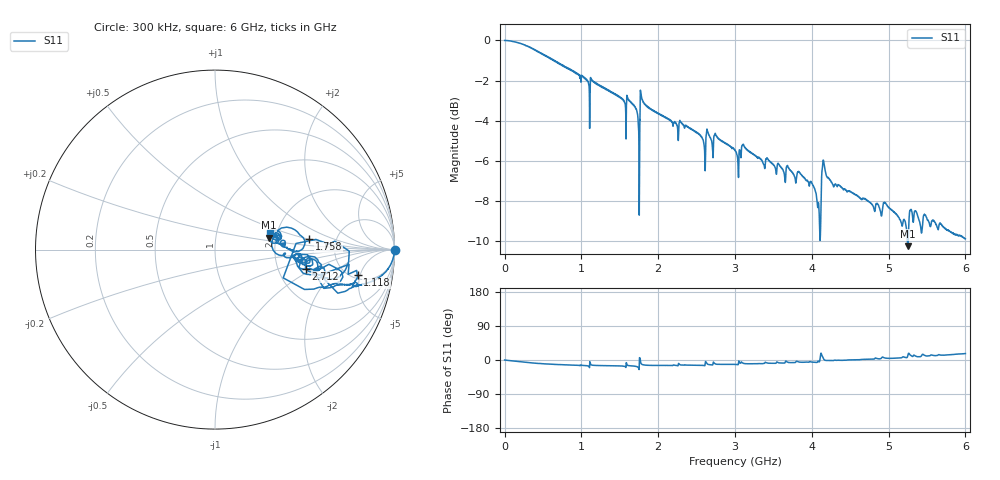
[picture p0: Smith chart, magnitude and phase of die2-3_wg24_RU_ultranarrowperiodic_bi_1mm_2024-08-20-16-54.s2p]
!Keysight Technologies,P9374A,MY57304198,A.17.20.09
!Date: Tuesday, August 20, 2024 16:54:35
!Correction: S11(C  1-Port  )
!S21(C  1-Port  )
!S12(Off)
!S22(Off)
!S2P File: Measurements: S11, S21, S12, S22:
# Hz S  dB  R 50
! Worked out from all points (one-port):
!   6000 points, 300 kHz to 6 GHz, reference 50 ohm
!   lowest |S11| = -10.3 dB at 5.251 GHz (marker M1), VSWR 1.88, Z = 91.4 + j13.4 ohm
!   |S11| at or under -10 dB: 5.243752 GHz to 5.255402 GHz (11.65 MHz wide, 0.222 % of centre)
!   S11 on the Smith chart (normalised r, x): 300 kHz: open; 1.118 GHz: 5.54, -4.57; 1.758 GHz: 3.16, +0.50; 2.712 GHz: 2.88, -0.85; 6 GHz: 1.83, +0.38
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300000  0.00 -0.0  -200.00 45.0  -200.00 45.0  -200.00 45.0
4.353508e8  -0.55 -8.9  -200.00 45.0  -200.00 45.0  -200.00 45.0
1.000417e9  -1.77 -13.5  -200.00 45.0  -200.00 45.0  -200.00 45.0
1.11843e9  -1.86 -10.2  -200.00 45.0  -200.00 45.0  -200.00 45.0
1.618489e9  -2.96 -14.9  -200.00 45.0  -200.00 45.0  -200.00 45.0
1.721501e9  -3.54 -17.4  -200.00 45.0  -200.00 45.0  -200.00 45.0
1.757505e9  -5.53 6.2  -200.00 45.0  -200.00 45.0  -200.00 45.0
1.783508e9  -2.83 -10.8  -200.00 45.0  -200.00 45.0  -200.00 45.0
1.795509e9  -2.97 -12.2  -200.00 45.0  -200.00 45.0  -200.00 45.0
2.000533e9  -3.66 -14.3  -200.00 45.0  -200.00 45.0  -200.00 45.0
2.711616e9  -5.69 -12.0  -200.00 45.0  -200.00 45.0  -200.00 45.0
3.00065e9  -5.47 -11.6  -200.00 45.0  -200.00 45.0  -200.00 45.0
3.074659e9  -5.75 -8.3  -200.00 45.0  -200.00 45.0  -200.00 45.0
4.000767e9  -7.13 -5.5  -200.00 45.0  -200.00 45.0  -200.00 45.0
4.090777e9  -8.25 -4.4  -200.00 45.0  -200.00 45.0  -200.00 45.0
4.134782e9  -6.45 10.7  -200.00 45.0  -200.00 45.0  -200.00 45.0
4.160785e9  -6.19 0.9  -200.00 45.0  -200.00 45.0  -200.00 45.0
4.245795e9  -7.01 -1.6  -200.00 45.0  -200.00 45.0  -200.00 45.0
5.000883e9  -8.36 4.3  -200.00 45.0  -200.00 45.0  -200.00 45.0
5.250913e9  -10.28 12.5  -200.00 45.0  -200.00 45.0  -200.00 45.0
5.358925e9  -8.54 9.7  -200.00 45.0  -200.00 45.0  -200.00 45.0
6e9  -9.91 17.0  -200.00 45.0  -200.00 45.0  -200.00 45.0
